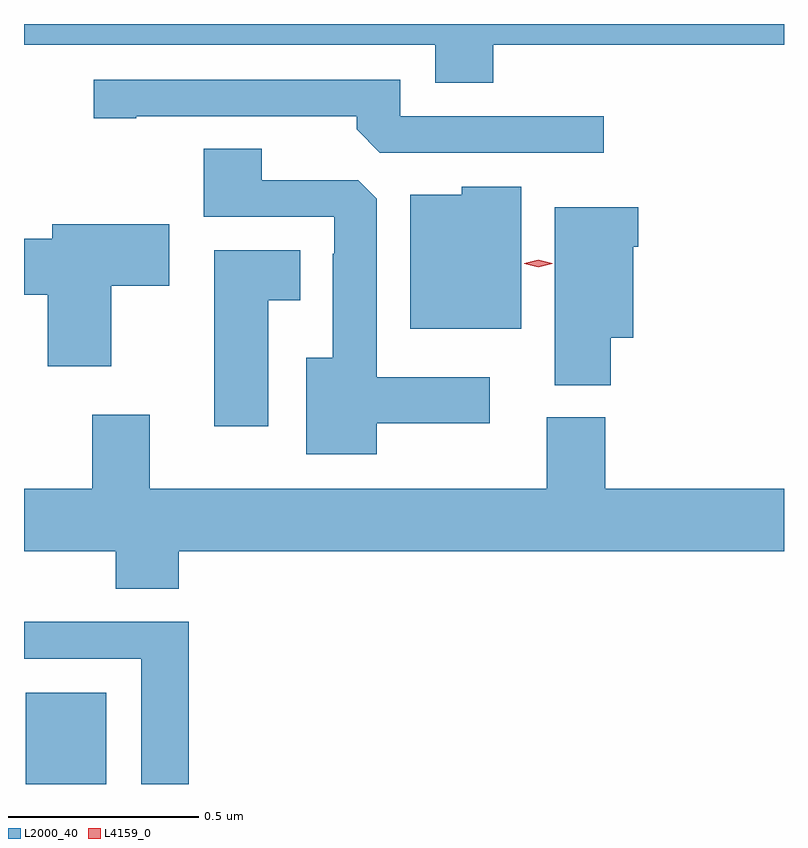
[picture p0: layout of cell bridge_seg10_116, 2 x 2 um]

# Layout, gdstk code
import gdstk
lib = gdstk.Library(unit=1e-6, precision=1e-09)
def R(c, l, rs):  # rectangles x0, y0, x1, y1
    for r in rs: c.add(gdstk.rectangle(r[:2], r[2:], *l))
def P(c, l, *ps):  # polygons
    for p in ps: c.add(gdstk.Polygon(p, *l))
L2000_40 = (2000, 40)
L4159_0 = (4159, 0)

bridge_seg10_116 = lib.new_cell('bridge_seg10_116')
R(bridge_seg10_116, L2000_40, [(411.266,1286.383,411.478,1286.623)])
P(bridge_seg10_116, L2000_40, [(412.496,1288.328),(413.261,1288.328),(413.261,1288.383),(411.261,1288.383),(411.261,1288.328),(412.343,1288.328),(412.343,1288.229),(412.496,1288.229)],
  [(412.786,1288.14),(412.251,1288.14),(412.251,1288.236),(411.444,1288.236),(411.444,1288.135),(411.556,1288.135),(411.556,1288.14),(412.136,1288.14),(412.136,1288.106),(412.197,1288.044),(412.786,1288.044)],
  [(412.189,1287.332),(412.486,1287.332),(412.486,1287.454),(412.189,1287.454),(412.189,1287.923),(412.14,1287.972),(411.886,1287.972),(411.886,1288.055),(411.734,1288.055),(411.734,1287.876),(412.077,1287.876),(412.077,1287.779),(412.073,1287.779),(412.073,1287.505),(412.004,1287.505),(412.004,1287.251),(412.189,1287.251)],
  [(412.57,1287.955),(412.413,1287.955),(412.413,1287.934),(412.277,1287.934),(412.277,1287.581),(412.57,1287.581)],
  [(412.805,1287.557),(412.864,1287.557),(412.864,1287.797),(412.877,1287.797),(412.877,1287.901),(412.658,1287.901),(412.658,1287.433),(412.805,1287.433)],
  [(411.49,1287.694),(411.643,1287.694),(411.643,1287.856),(411.335,1287.856),(411.335,1287.818),(411.261,1287.818),(411.261,1287.671),(411.323,1287.671),(411.323,1287.483),(411.49,1287.483)],
  [(411.904,1287.656),(411.988,1287.656),(411.988,1287.787),(411.761,1287.787),(411.761,1287.324),(411.904,1287.324)],
  [(411.668,1286.996),(413.261,1286.996),(413.261,1287.16),(412.79,1287.16),(412.79,1287.348),(412.637,1287.348),(412.637,1287.16),(411.592,1287.16),(411.592,1287.355),(411.44,1287.355),(411.44,1287.16),(411.261,1287.16),(411.261,1286.996),(411.503,1286.996),(411.503,1286.897),(411.668,1286.897)],
  [(411.695,1286.81),(411.261,1286.81),(411.261,1286.712),(411.569,1286.712),(411.569,1286.383),(411.695,1286.383)])
P(bridge_seg10_116, L4159_0, [(412.614,1287.743),(412.578,1287.752),(412.577,1287.753),(412.578,1287.753),(412.614,1287.763),(412.651,1287.753),(412.651,1287.753),(412.651,1287.752)])

lib.write_gds('bridge_seg10_116.gds')
